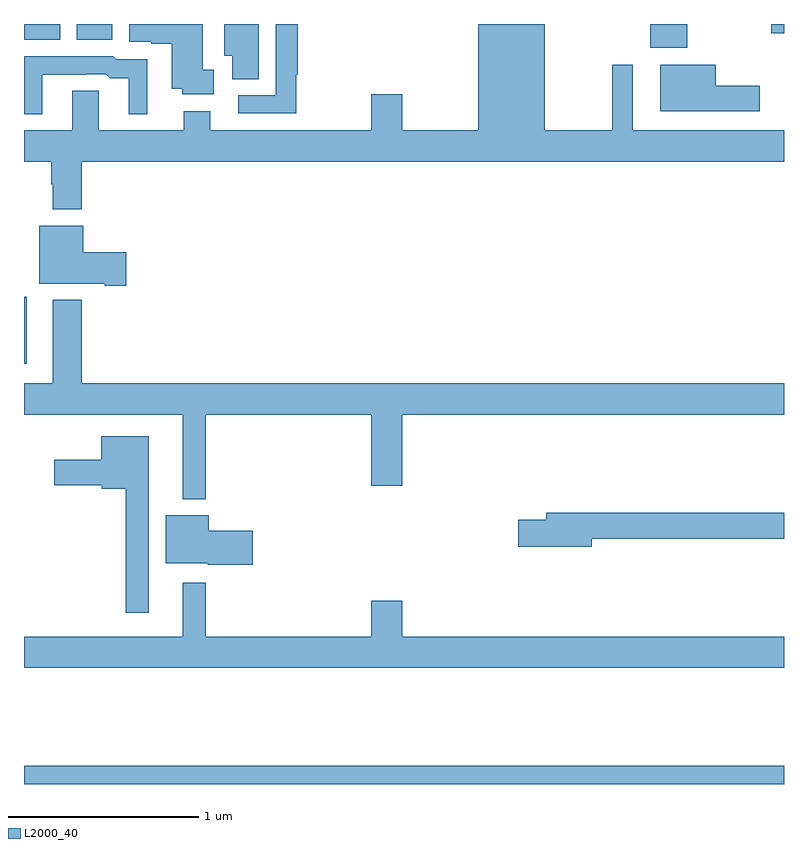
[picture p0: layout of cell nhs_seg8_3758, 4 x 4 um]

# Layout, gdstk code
import gdstk
lib = gdstk.Library(unit=1e-6, precision=1e-09)
def R(c, l, rs):  # rectangles x0, y0, x1, y1
    for r in rs: c.add(gdstk.rectangle(r[:2], r[2:], *l))
def P(c, l, *ps):  # polygons
    for p in ps: c.add(gdstk.Polygon(p, *l))
L2000_40 = (2000, 40)

nhs_seg8_3758 = lib.new_cell('nhs_seg8_3758')
R(nhs_seg8_3758, L2000_40, [(343,1103.9,347,1103.996), (343,1106.112,343.015,1106.464), (346.296,1107.776,346.492,1107.9), (343,1107.818,343.192,1107.9), (343.277,1107.818,343.465,1107.9), (346.932,1107.851,347,1107.9)])
P(nhs_seg8_3758, L2000_40, [(343,1107.176),(343.144,1107.176),(343.144,1107.056),(343.151,1107.056),(343.151,1106.924),(343.304,1106.924),(343.304,1107.176),(347,1107.176),(347,1107.34),(346.204,1107.34),(346.204,1107.685),(346.095,1107.685),(346.095,1107.34),(345.742,1107.34),(345.742,1107.9),(345.392,1107.9),(345.392,1107.34),(344.992,1107.34),(344.992,1107.529),(344.828,1107.529),(344.828,1107.34),(343.981,1107.34),(343.981,1107.442),(343.841,1107.442),(343.841,1107.34),(343.393,1107.34),(343.393,1107.548),(343.253,1107.548),(343.253,1107.34),(343,1107.34)],
  [(343.999,1107.66),(343.942,1107.66),(343.942,1107.9),(343.554,1107.9),(343.554,1107.807),(343.67,1107.807),(343.67,1107.795),(343.778,1107.795),(343.778,1107.56),(343.832,1107.56),(343.832,1107.53),(343.999,1107.53)],
  [(344.434,1107.632),(344.441,1107.632),(344.441,1107.9),(344.325,1107.9),(344.325,1107.525),(344.127,1107.525),(344.127,1107.429),(344.434,1107.429)],
  [(344.236,1107.9),(344.054,1107.9),(344.054,1107.734),(344.096,1107.734),(344.096,1107.61),(344.236,1107.61)],
  [(343.096,1107.633),(343.331,1107.633),(343.331,1107.636),(343.431,1107.636),(343.454,1107.614),(343.55,1107.614),(343.55,1107.425),(343.648,1107.425),(343.648,1107.714),(343.485,1107.714),(343.47,1107.729),(343,1107.729),(343,1107.425),(343.096,1107.425)],
  [(346.873,1107.575),(346.642,1107.575),(346.642,1107.685),(346.349,1107.685),(346.349,1107.44),(346.873,1107.44)],
  [(343.537,1106.7),(343.312,1106.7),(343.312,1106.839),(343.079,1106.839),(343.079,1106.534),(343.424,1106.534),(343.424,1106.522),(343.537,1106.522)],
  [(343.957,1105.844),(344.828,1105.844),(344.828,1105.47),(344.992,1105.47),(344.992,1105.844),(347,1105.844),(347,1106.008),(343.304,1106.008),(343.304,1106.449),(343.151,1106.449),(343.151,1106.008),(343,1106.008),(343,1105.844),(343.835,1105.844),(343.835,1105.4),(343.957,1105.4)],
  [(343.657,1105.729),(343.406,1105.729),(343.406,1105.606),(343.158,1105.606),(343.158,1105.472),(343.41,1105.472),(343.41,1105.454),(343.536,1105.454),(343.536,1104.801),(343.657,1104.801)],
  [(345.988,1105.192),(347,1105.192),(347,1105.328),(345.749,1105.328),(345.749,1105.292),(345.6,1105.292),(345.6,1105.15),(345.988,1105.15)],
  [(344.203,1105.232),(343.972,1105.232),(343.972,1105.315),(343.745,1105.315),(343.745,1105.061),(343.968,1105.061),(343.968,1105.054),(344.203,1105.054)],
  [(347,1104.676),(344.992,1104.676),(344.992,1104.865),(344.828,1104.865),(344.828,1104.676),(343.957,1104.676),(343.957,1104.958),(343.835,1104.958),(343.835,1104.676),(343,1104.676),(343,1104.512),(347,1104.512)])

lib.write_gds('nhs_seg8_3758.gds')
